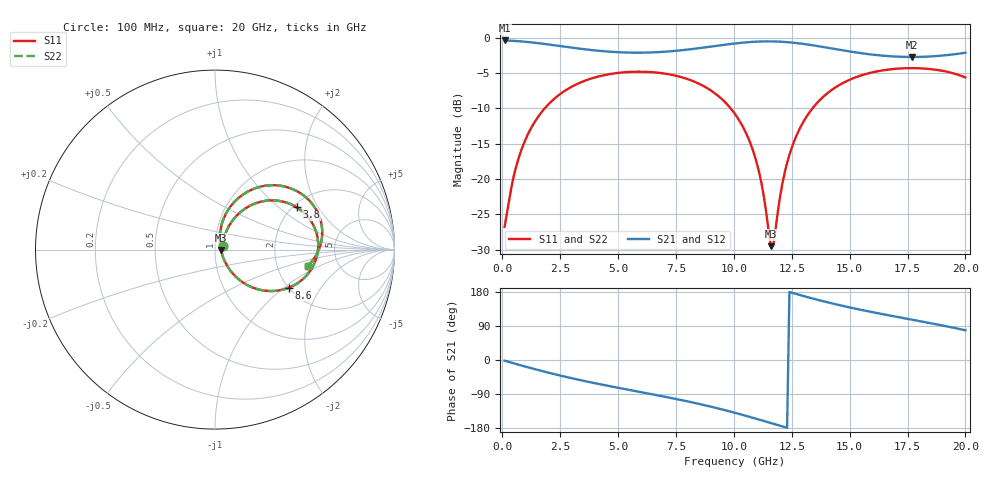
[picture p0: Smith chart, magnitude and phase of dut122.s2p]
! Touchstone file exported from HFSS 2026.1.0
!  File:  C:/ffzhzh/LocalFiles/Ansys_Project_Files/temp_train_TSV_RDL_122_1783048025_45820.aedt
!  Generated:  11:18:56 AM Jul  3, 2026
!  Design:  TSV_RDL
!  Project:  temp_train_TSV_RDL_122_1783048025_45820
! Variables:
!  h_bsmrdl = 2.22um
!  h_ox = 20um
!  h_rdl = 5um
!  h_sub = 98.96um
!  h_tmrdl = 2.85um
!  h_tsv = 98.96um
!  h_via = 3um
!  l_bsmrdl = 143.88um
!  l_sub = 4232.31um
!  l_tmrdl = 820.07um
!  m_sub = 200um
!  pitch = 47.97um
!  r_tsv = 12.54um
!  s_tmrdl = 10um
!  w_bsmrdl = 29.99um
!  w_sub = 500um
!  w_tmrdl = 10.14um
!  x_tsv_center1 = 825.14um
!  x_tsv_center2 = 999.01um
!  x_tsv_center3 = 1829.22um
!  x_tsv_center4 = 2003.09um
!  x_tsv_center5 = 2833.3um
!  x_tsv_center6 = 3007.17um
# GHz S MA R 50.000000
! Terminal data exported
! Port[1] = TM_RDL1_1_T1
! Port[2] = TM_RDL5_1_T1
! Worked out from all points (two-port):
!   200 points, 100 MHz to 20 GHz, reference 50 ohm
!   highest |S21| = -0.37 dB at 100 MHz (marker M1); lowest = -2.7 dB at 17.7 GHz (marker M2)
!   |S21| within 3 dB of the highest: start of sweep to end of sweep
!   lowest |S11| = -29.5 dB at 11.6 GHz (marker M3), VSWR 1.07, Z = 53.5 - j0.28 ohm
!   |S11| at or under -10 dB: start of sweep to 1.828 GHz; 9.866 GHz to 13.39 GHz (3.526 GHz wide, 30.3 % of centre)
!   |S22| runs from -29.6 to -4.3 dB; largest |S21 - S12| = 1.6e-14
!   S11 on the Smith chart (normalised r, x): 100 MHz: 1.09, +0.04; 3.8 GHz: 2.09, +1.34; 8.6 GHz: 2.02, -1.09; 20 GHz: 3.00, -0.74
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0.1  0.04604 23.6  0.9582 -1.8  0.9582 -1.8  0.04604 23.6
! Gamma 0 0 0 0
! Port Impedance 50 0 50 0
0.6  0.1228 58.3  0.9494 -10.7  0.9494 -10.7  0.1228 58.3
1.2  0.2226 57.5  0.9308 -20.8  0.9308 -20.8  0.2226 57.5
2.2  0.365 46.7  0.8884 -36.6  0.8884 -36.6  0.365 46.7
3.5  0.4924 30.9  0.832 -54.8  0.832 -54.8  0.4924 30.9
3.8  0.5127 27.4  0.8212 -58.7  0.8212 -58.7  0.5128 27.4
5.3  0.5711 10.6  0.7876 -76.8  0.7876 -76.8  0.5711 10.6
6.8  0.5646 -5.8  0.7933 -94.3  0.7933 -94.3  0.5647 -5.8
8.6  0.4643 -27.1  0.8493 -117.3  0.8493 -117.3  0.4643 -27.1
10.1  0.2814 -46.5  0.9146 -140.2  0.9146 -140.2  0.2814 -46.7
10.6  0.1993 -52.0  0.9314 -148.6  0.9314 -148.6  0.1993 -52.2
11  0.1284 -53.6  0.9403 -155.6  0.9403 -155.6  0.1283 -53.8
11.3  0.07468 -47.7  0.9438 -161.0  0.9438 -161.0  0.07449 -48.2
11.6  0.03353 -4.5  0.9441 -166.4  0.9441 -166.4  0.03294 -4.9
11.7  0.03384 27.4  0.9435 -168.2  0.9435 -168.2  0.03321 27.6
12  0.07585 69.4  0.9396 -173.6  0.9396 -173.6  0.0755 69.8
12.4  0.1484 75.1  0.9295 179.3  0.9295 179.3  0.1482 75.3
13.4  0.3174 65.4  0.8861 162.3  0.8861 162.3  0.3173 65.5
14.9  0.4964 46.2  0.8059 140.1  0.8059 140.1  0.4963 46.2
16.7  0.5972 25.7  0.7418 117.8  0.7418 117.8  0.5971 25.7
17.7  0.6105 15.2  0.7319 106.4  0.7319 106.4  0.6105 15.2
20  0.5247 -9.8  0.7842 78.3  0.7842 78.3  0.5248 -9.9
